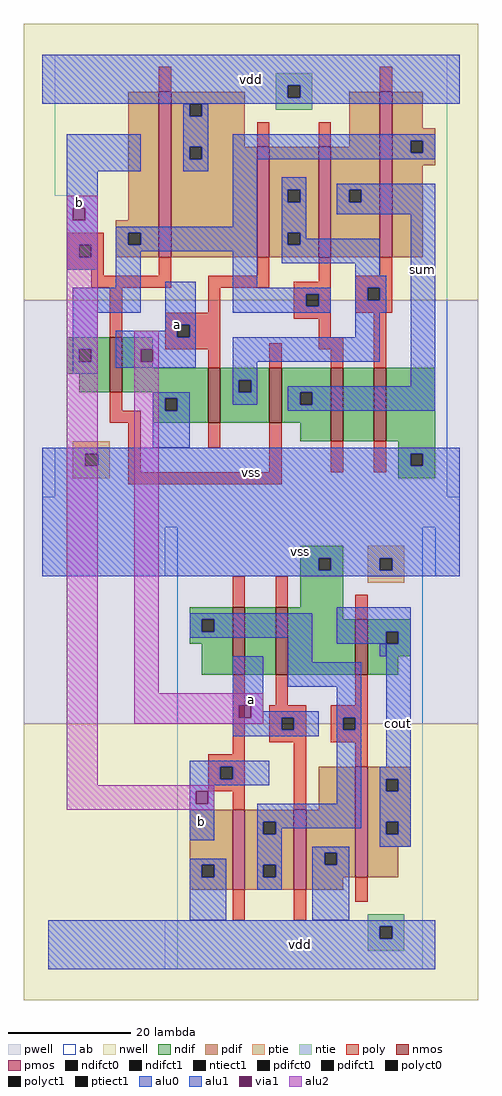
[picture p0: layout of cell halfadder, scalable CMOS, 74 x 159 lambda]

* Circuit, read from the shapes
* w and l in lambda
.subckt halfadder a b cout sum vdd vss
M1 vss b n1 vss nfet w=9 l=2
M2 n2 a vss vss nfet w=9 l=2
M3 n3 b n4 vss nfet w=11 l=2
M4 sum b n2 vss nfet w=9 l=2
M5 vss a n3 vss nfet w=11 l=2
M6 n5 n1 sum vss nfet w=12 l=2
M7 cout n4 vss vss nfet w=9 l=2
M8 vss n2 n5 vss nfet w=12 l=2
M9 vdd b n1 vdd pfet w=27 l=2
M10 n4 b vdd vdd pfet w=13 l=2
M11 n2 a vdd vdd pfet w=18 l=2
M12 vdd a n4 vdd pfet w=13 l=2
M13 sum n1 n2 vdd pfet w=18 l=2
M14 cout n4 vdd vdd pfet w=18 l=2
M15 n1 n2 sum vdd pfet w=27 l=2
.ends

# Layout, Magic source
magic
tech scmos
<< ab >>
rect 4 54 68 77
rect 6 13 68 54
rect 4 5 68 13
rect 2 0 70 5
rect 2 -8 22 0
rect 3 -72 22 -64
rect 24 -72 64 0
rect 66 -8 70 0
<< nwell >>
rect -1 37 73 82
rect -1 -77 73 -32
<< pwell >>
rect -1 -32 73 37
<< poly >>
rect 21 71 23 75
rect 6 46 12 48
rect 6 44 8 46
rect 10 44 12 46
rect 57 71 59 75
rect 37 62 39 66
rect 47 62 49 66
rect 6 42 12 44
rect 10 41 12 42
rect 21 41 23 44
rect 37 41 39 44
rect 10 39 23 41
rect 29 39 39 41
rect 47 40 49 44
rect 57 41 59 44
rect 13 31 15 39
rect 29 35 31 39
rect 22 33 31 35
rect 43 38 49 40
rect 43 36 45 38
rect 47 36 49 38
rect 43 34 49 36
rect 53 39 59 41
rect 53 37 55 39
rect 57 37 59 39
rect 53 35 59 37
rect 22 31 24 33
rect 26 31 31 33
rect 22 29 31 31
rect 47 31 49 34
rect 29 26 31 29
rect 39 26 41 30
rect 47 29 51 31
rect 49 26 51 29
rect 56 26 58 35
rect 13 19 15 22
rect 13 17 18 19
rect 16 9 18 17
rect 29 13 31 17
rect 39 9 41 17
rect 49 9 51 14
rect 56 9 58 14
rect 16 7 41 9
rect 33 -13 35 -8
rect 40 -13 42 -8
rect 53 -15 55 -11
rect 33 -37 35 -24
rect 40 -29 42 -24
rect 53 -29 55 -24
rect 39 -31 45 -29
rect 39 -33 41 -31
rect 43 -33 45 -31
rect 39 -35 45 -33
rect 49 -31 55 -29
rect 49 -33 51 -31
rect 53 -33 55 -31
rect 49 -35 55 -33
rect 29 -39 35 -37
rect 29 -41 31 -39
rect 33 -41 35 -39
rect 29 -43 35 -41
rect 33 -46 35 -43
rect 43 -46 45 -35
rect 53 -39 55 -35
rect 33 -64 35 -59
rect 43 -64 45 -59
rect 53 -61 55 -57
<< ndif >>
rect 6 29 13 31
rect 6 27 8 29
rect 10 27 13 29
rect 6 25 13 27
rect 8 22 13 25
rect 15 26 20 31
rect 15 22 29 26
rect 20 21 29 22
rect 20 19 22 21
rect 24 19 29 21
rect 20 17 29 19
rect 31 24 39 26
rect 31 22 34 24
rect 36 22 39 24
rect 31 17 39 22
rect 41 22 49 26
rect 41 20 44 22
rect 46 20 49 22
rect 41 17 49 20
rect 44 14 49 17
rect 51 14 56 26
rect 58 14 66 26
rect 60 12 66 14
rect 60 10 62 12
rect 64 10 66 12
rect 60 8 66 10
rect 44 -5 51 -3
rect 44 -7 47 -5
rect 49 -7 51 -5
rect 44 -13 51 -7
rect 26 -15 33 -13
rect 26 -17 28 -15
rect 30 -17 33 -15
rect 26 -19 33 -17
rect 28 -24 33 -19
rect 35 -24 40 -13
rect 42 -15 51 -13
rect 42 -24 53 -15
rect 55 -17 62 -15
rect 55 -19 58 -17
rect 60 -19 62 -17
rect 55 -21 62 -19
rect 55 -24 60 -21
<< pdif >>
rect 16 50 21 71
rect 14 48 21 50
rect 14 46 16 48
rect 18 46 21 48
rect 14 44 21 46
rect 23 69 35 71
rect 23 67 26 69
rect 28 67 35 69
rect 23 62 35 67
rect 52 62 57 71
rect 23 60 26 62
rect 28 60 37 62
rect 23 44 37 60
rect 39 55 47 62
rect 39 53 42 55
rect 44 53 47 55
rect 39 48 47 53
rect 39 46 42 48
rect 44 46 47 48
rect 39 44 47 46
rect 49 55 57 62
rect 49 53 52 55
rect 54 53 57 55
rect 49 44 57 53
rect 59 65 64 71
rect 59 63 66 65
rect 59 61 62 63
rect 64 61 66 63
rect 59 59 66 61
rect 59 44 64 59
rect 47 -46 53 -39
rect 26 -55 33 -46
rect 26 -57 28 -55
rect 30 -57 33 -55
rect 26 -59 33 -57
rect 35 -48 43 -46
rect 35 -50 38 -48
rect 40 -50 43 -48
rect 35 -55 43 -50
rect 35 -57 38 -55
rect 40 -57 43 -55
rect 35 -59 43 -57
rect 45 -53 53 -46
rect 45 -55 48 -53
rect 50 -55 53 -53
rect 45 -57 53 -55
rect 55 -41 62 -39
rect 55 -43 58 -41
rect 60 -43 62 -41
rect 55 -48 62 -43
rect 55 -50 58 -48
rect 60 -50 62 -48
rect 55 -52 62 -50
rect 55 -57 60 -52
rect 45 -59 51 -57
<< alu1 >>
rect 2 72 70 77
rect 2 70 42 72
rect 44 70 70 72
rect 2 69 70 70
rect 6 58 18 64
rect 6 52 11 58
rect 6 50 7 52
rect 9 50 11 52
rect 6 46 11 50
rect 6 44 8 46
rect 10 44 11 46
rect 6 42 11 44
rect 22 33 27 40
rect 50 55 66 56
rect 50 53 52 55
rect 54 53 66 55
rect 50 51 66 53
rect 22 32 24 33
rect 14 31 24 32
rect 26 31 27 33
rect 14 29 27 31
rect 14 27 18 29
rect 20 27 27 29
rect 14 26 27 27
rect 62 23 66 51
rect 42 22 66 23
rect 42 20 44 22
rect 46 20 66 22
rect 42 19 66 20
rect 2 12 70 13
rect 2 10 9 12
rect 11 10 62 12
rect 64 10 70 12
rect 2 -5 70 10
rect 2 -7 47 -5
rect 49 -7 57 -5
rect 59 -7 70 -5
rect 2 -8 70 -7
rect 33 -29 38 -21
rect 50 -17 62 -13
rect 50 -19 58 -17
rect 60 -19 62 -17
rect 33 -31 34 -29
rect 36 -30 38 -29
rect 36 -31 47 -30
rect 33 -33 41 -31
rect 43 -33 47 -31
rect 33 -34 47 -33
rect 26 -39 39 -38
rect 26 -41 31 -39
rect 33 -41 39 -39
rect 26 -42 39 -41
rect 26 -43 30 -42
rect 26 -45 27 -43
rect 29 -45 30 -43
rect 58 -39 62 -19
rect 26 -51 30 -45
rect 57 -41 62 -39
rect 57 -43 58 -41
rect 60 -43 62 -41
rect 57 -48 62 -43
rect 57 -50 58 -48
rect 60 -50 62 -48
rect 57 -52 62 -50
rect 3 -65 66 -64
rect 3 -67 57 -65
rect 59 -67 66 -65
rect 3 -72 66 -67
<< alu2 >>
rect 6 52 11 54
rect 6 50 7 52
rect 9 50 11 52
rect 6 -42 11 50
rect 17 29 21 32
rect 17 27 18 29
rect 20 27 21 29
rect 17 -27 21 27
rect 17 -29 38 -27
rect 17 -31 34 -29
rect 36 -31 38 -29
rect 17 -32 38 -31
rect 6 -43 30 -42
rect 6 -45 27 -43
rect 29 -45 30 -43
rect 6 -46 30 -45
<< ptie >>
rect 7 12 13 14
rect 7 10 9 12
rect 11 10 13 12
rect 7 8 13 10
rect 55 -5 61 -3
rect 55 -7 57 -5
rect 59 -7 61 -5
rect 55 -9 61 -7
<< ntie >>
rect 40 72 46 74
rect 40 70 42 72
rect 44 70 46 72
rect 40 68 46 70
rect 55 -65 61 -63
rect 55 -67 57 -65
rect 59 -67 61 -65
rect 55 -69 61 -67
<< nmos >>
rect 13 22 15 31
rect 29 17 31 26
rect 39 17 41 26
rect 49 14 51 26
rect 56 14 58 26
rect 33 -24 35 -13
rect 40 -24 42 -13
rect 53 -24 55 -15
<< pmos >>
rect 21 44 23 71
rect 37 44 39 62
rect 47 44 49 62
rect 57 44 59 71
rect 33 -59 35 -46
rect 43 -59 45 -46
rect 53 -57 55 -39
<< polyct0 >>
rect 45 36 47 38
rect 55 37 57 39
rect 51 -33 53 -31
<< polyct1 >>
rect 8 44 10 46
rect 24 31 26 33
rect 41 -33 43 -31
rect 31 -41 33 -39
<< ndifct0 >>
rect 8 27 10 29
rect 22 19 24 21
rect 34 22 36 24
rect 28 -17 30 -15
<< ndifct1 >>
rect 44 20 46 22
rect 62 10 64 12
rect 47 -7 49 -5
rect 58 -19 60 -17
<< ntiect1 >>
rect 42 70 44 72
rect 57 -67 59 -65
<< ptiect1 >>
rect 9 10 11 12
rect 57 -7 59 -5
<< pdifct0 >>
rect 16 46 18 48
rect 26 67 28 69
rect 26 60 28 62
rect 42 53 44 55
rect 42 46 44 48
rect 62 61 64 63
rect 28 -57 30 -55
rect 38 -50 40 -48
rect 38 -57 40 -55
rect 48 -55 50 -53
<< pdifct1 >>
rect 52 53 54 55
rect 58 -43 60 -41
rect 58 -50 60 -48
<< alu0 >>
rect 25 67 26 69
rect 28 67 29 69
rect 25 62 29 67
rect 25 60 26 62
rect 28 60 29 62
rect 25 58 29 60
rect 33 63 66 64
rect 33 61 62 63
rect 64 61 66 63
rect 33 60 66 61
rect 33 49 37 60
rect 14 48 37 49
rect 14 46 16 48
rect 18 46 37 48
rect 14 45 37 46
rect 14 39 18 45
rect 7 35 18 39
rect 7 29 11 35
rect 33 39 37 45
rect 41 55 45 57
rect 41 53 42 55
rect 44 53 45 55
rect 41 48 45 53
rect 41 46 42 48
rect 44 47 45 48
rect 44 46 57 47
rect 41 43 57 46
rect 53 41 57 43
rect 53 39 58 41
rect 33 38 49 39
rect 33 36 45 38
rect 47 36 49 38
rect 33 35 49 36
rect 53 37 55 39
rect 57 37 58 39
rect 53 35 58 37
rect 7 27 8 29
rect 10 27 11 29
rect 7 25 11 27
rect 53 31 57 35
rect 33 27 57 31
rect 33 24 37 27
rect 33 22 34 24
rect 36 22 37 24
rect 20 21 26 22
rect 20 19 22 21
rect 24 19 26 21
rect 33 20 37 22
rect 20 13 26 19
rect 26 -15 46 -14
rect 26 -17 28 -15
rect 30 -17 46 -15
rect 26 -18 46 -17
rect 42 -22 46 -18
rect 57 -21 58 -19
rect 42 -26 54 -22
rect 50 -31 54 -26
rect 50 -33 51 -31
rect 53 -33 54 -31
rect 50 -45 54 -33
rect 37 -48 54 -45
rect 37 -50 38 -48
rect 40 -49 54 -48
rect 40 -50 41 -49
rect 26 -55 32 -54
rect 26 -57 28 -55
rect 30 -57 32 -55
rect 26 -64 32 -57
rect 37 -55 41 -50
rect 37 -57 38 -55
rect 40 -57 41 -55
rect 37 -59 41 -57
rect 46 -53 52 -52
rect 46 -55 48 -53
rect 50 -55 52 -53
rect 46 -64 52 -55
<< via1 >>
rect 7 50 9 52
rect 18 27 20 29
rect 34 -31 36 -29
rect 27 -45 29 -43
<< labels >>
rlabel alu1 8 53 8 53 6 b
rlabel alu1 24 33 24 33 6 a
rlabel alu1 36 9 36 9 6 vss
rlabel alu1 36 73 36 73 6 vdd
rlabel alu1 64 42 64 42 1 sum
rlabel alu1 28 -48 28 -48 2 b
rlabel alu1 44 -68 44 -68 2 vdd
rlabel alu1 36 -28 36 -28 2 a
rlabel alu1 44 -4 44 -4 2 vss
rlabel alu1 60 -32 60 -32 1 cout
<< end >>
